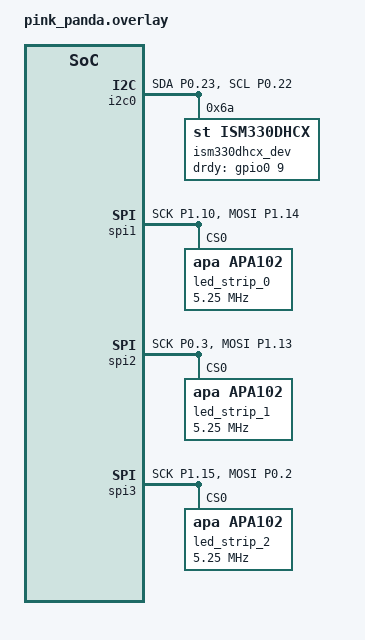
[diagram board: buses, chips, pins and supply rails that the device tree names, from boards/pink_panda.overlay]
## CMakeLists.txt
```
#-------------------------------------------------------------------------------
# Zephyr Example Application
#
# Copyright (c) 2022 François Gervais
# SPDX-License-Identifier: Apache-2.0

set(OVERLAY_CONFIG "secret.conf")

cmake_minimum_required(VERSION 3.20.0)
list(APPEND BOARD_ROOT ${CMAKE_CURRENT_SOURCE_DIR})
find_package(Zephyr REQUIRED HINTS $ENV{ZEPHYR_BASE})

project(app LANGUAGES C VERSION 1.0.0)

configure_file(app_version.h.in ${CMAKE_BINARY_DIR}/app/include/app_version.h)
target_include_directories(app PRIVATE ${CMAKE_BINARY_DIR}/app/include src)

target_sources(app PRIVATE src/main.c)

zephyr_include_directories(
 configuration/${BOARD}
 )
```

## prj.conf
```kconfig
CONFIG_SPI=y

CONFIG_SENSOR=y

CONFIG_SERIAL=y
CONFIG_HEAP_MEM_POOL_SIZE=2048

CONFIG_PM_DEVICE=y

CONFIG_CAF=y
CONFIG_CAF_BUTTONS=y
CONFIG_CAF_BUTTONS_POLARITY_INVERSED=y

CONFIG_NRFX_GPIOTE_NUM_OF_EVT_HANDLERS=1

CONFIG_CONSOLE=y
CONFIG_UART_CONSOLE=y

CONFIG_ISM330DHCX_TRIGGER_OWN_THREAD=y

CONFIG_LED_STRIP=y
CONFIG_APA102_STRIP=y
CONFIG_CBPRINTF_FP_SUPPORT=y
CONFIG_LOG=y
```

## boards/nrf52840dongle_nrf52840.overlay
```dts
/* Copyright (c) 2020 Nordic Semiconductor ASA
 *
 * SPDX-License-Identifier: LicenseRef-Nordic-5-Clause
 */

/ {
	/*
	* In some default configurations within the nRF Connect SDK,
	* e.g. on nRF52840, the chosen zephyr,entropy node is &cryptocell.
	* This devicetree overlay ensures that default is overridden wherever it
	* is set, as this application uses the RNG node for entropy exclusively.
	*/
	chosen {
		zephyr,entropy = &rng;
	};
	aliases {
		myled0alias = &myled0;
	};
	leds {
		compatible = "gpio-leds";
		myled0: led_0 {
			gpios = <&gpio1 10 GPIO_ACTIVE_LOW>;
		};
	};
};
&adc {
	status = "disabled";
};
&uart1 {
	status = "disabled";
};
&pwm0 {
	status = "disabled";
};
&i2c0 {
	status = "disabled";
};
&spi0 {
	status = "disabled";
};
&spi1 {
	status = "disabled";
};
&spi2 {
	status = "disabled";
};
&spi3 {
	status = "disabled";
};
&qspi {
	status = "disabled";
};
&usbd {
	status = "disabled";
};
// &gpio1 {
// 	status = "disabled";
// };
```

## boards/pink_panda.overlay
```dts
/ {
	/*
	* In some default configurations within the nRF Connect SDK,
	* e.g. on nRF52840, the chosen zephyr,entropy node is &cryptocell.
	* This devicetree overlay ensures that default is overridden wherever it
	* is set, as this application uses the RNG node for entropy exclusively.
	*/
	chosen {
		zephyr,entropy = &rng;
	};
	aliases {
		led-strip-0 = &led_strip_0;
		led-strip-1 = &led_strip_1;
		led-strip-2 = &led_strip_2;
	};
};
&pinctrl {
	i2c0_default: i2c0_default {
		group1 {
			psels = <NRF_PSEL(TWIM_SDA, 0, 23)>,
				<NRF_PSEL(TWIM_SCL, 0, 22)>;
		};
	};

	i2c0_sleep: i2c0_sleep {
		group1 {
			psels = <NRF_PSEL(TWIM_SDA, 0, 23)>,
				<NRF_PSEL(TWIM_SCL, 0, 22)>;
			low-power-enable;
		};
	};
	spi1_default: spi1_default {
		group1 {
			psels = <NRF_PSEL(SPIM_SCK, 1, 10)>,
				<NRF_PSEL(SPIM_MOSI, 1, 14)>;
		};
	};

	spi1_sleep: spi1_sleep {
		group1 {
			psels = <NRF_PSEL(SPIM_SCK, 1, 10)>,
				<NRF_PSEL(SPIM_MOSI, 1, 14)>;
			low-power-enable;
		};
	};

	spi2_default: spi2_default {
		group1 {
			psels = <NRF_PSEL(SPIM_SCK, 0, 3)>,
				<NRF_PSEL(SPIM_MOSI, 1, 13)>;
		};
	};

	spi2_sleep: spi2_sleep {
		group1 {
			psels = <NRF_PSEL(SPIM_SCK, 0, 3)>,
				<NRF_PSEL(SPIM_MOSI, 1, 13)>;
			low-power-enable;
		};
	};

	spi3_default: spi3_default {
		group1 {
			psels = <NRF_PSEL(SPIM_SCK, 1, 15)>,
				<NRF_PSEL(SPIM_MOSI, 0, 2)>;
		};
	};

	spi3_sleep: spi3_sleep {
		group1 {
			psels = <NRF_PSEL(SPIM_SCK, 1, 15)>,
				<NRF_PSEL(SPIM_MOSI, 0, 2)>;
			low-power-enable;
		};
	};
};
&i2c0 {
	compatible = "nordic,nrf-twi";
	status = "okay";
	pinctrl-0 = <&i2c0_default>;
	pinctrl-1 = <&i2c0_sleep>;
	pinctrl-names = "default", "sleep";

	ism330dhcx_dev: ism330dhcx@6a {
		compatible = "st,ism330dhcx";
		reg = <0x6a>;
		drdy-gpios =  <&gpio0 9 GPIO_ACTIVE_HIGH>;
		int-pin = <1>;
	};
};
&spi1 {
	status = "okay";
	pinctrl-0 = <&spi1_default>;
	pinctrl-1 = <&spi1_sleep>;
	pinctrl-names = "default", "sleep";

	led_strip_0: apa102@0 {
		compatible = "apa,apa102";
		reg = <0>;
		spi-max-frequency = <5250000>;
	};
};
&spi2 {
	status = "okay";
	pinctrl-0 = <&spi2_default>;
	pinctrl-1 = <&spi2_sleep>;
	pinctrl-names = "default", "sleep";

	led_strip_1: apa102@0 {
		compatible = "apa,apa102";
		reg = <0>;
		spi-max-frequency = <5250000>;
	};
};
&spi3 {
	status = "okay";
	pinctrl-0 = <&spi3_default>;
	pinctrl-1 = <&spi3_sleep>;
	pinctrl-names = "default", "sleep";

	led_strip_2: apa102@0 {
		compatible = "apa,apa102";
		reg = <0>;
		spi-max-frequency = <5250000>;
	};
};
&gpio0 {
	status = "okay";
};
```

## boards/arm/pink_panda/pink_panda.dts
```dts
/*
 * Copyright (c) 2018 Nordic Semiconductor ASA
 * Copyright (c) 2017 Linaro Limited
 *
 * SPDX-License-Identifier: Apache-2.0
 */

/dts-v1/;
#include <nordic/nrf52840_qiaa.dtsi>
#include "pink_panda-pinctrl.dtsi"

/ {
	model = "Pink Panda";
	compatible = "gervais,pink-panda";

	chosen {
		zephyr,console = &uart0;
		zephyr,shell-uart = &uart0;
		zephyr,uart-mcumgr = &uart0;
		zephyr,bt-mon-uart = &uart0;
		zephyr,bt-c2h-uart = &uart0;
		zephyr,sram = &sram0;
		zephyr,flash = &flash0;
		zephyr,code-partition = &slot0_partition;
	};

	leds {
		compatible = "gpio-leds";
		led0_green: led_0 {
			gpios = <&gpio0 6 GPIO_ACTIVE_LOW>;
			label = "Green LED 0";
		};
		led1_red: led_1 {
			gpios = <&gpio0 8 GPIO_ACTIVE_LOW>;
			label = "Red LED 1";
		};
		led1_green: led_2 {
			gpios = <&gpio1 9 GPIO_ACTIVE_LOW>;
			label = "Green LED 1";
		};
		led1_blue: led_3 {
			gpios = <&gpio0 12 GPIO_ACTIVE_LOW>;
			label = "Blue LED 1";
		};
	};

	pwmleds {
		compatible = "pwm-leds";
		red_pwm_led: pwm_led_0 {
			pwms = <&pwm0 0 PWM_MSEC(20) PWM_POLARITY_INVERTED>;
		};
		green_pwm_led: pwm_led_1 {
			pwms = <&pwm0 1 PWM_MSEC(20) PWM_POLARITY_INVERTED>;
		};
		blue_pwm_led: pwm_led_2 {
			pwms = <&pwm0 2 PWM_MSEC(20) PWM_POLARITY_INVERTED>;
		};
	};

	buttons {
		compatible = "gpio-keys";
		button0: button_0 {
			gpios = <&gpio1 6 (GPIO_PULL_UP | GPIO_ACTIVE_LOW)>;
			label = "Push button switch 0";
		};
	};

	/* These aliases are provided for compatibility with samples */
	aliases {
		sw0 = &button0;
		led0 = &led0_green;
		led1 = &led1_red;
		led2 = &led1_green;
		led3 = &led1_blue;
		led0-green = &led0_green;
		led1-red   = &led1_red;
		led1-green = &led1_green;
		led1-blue  = &led1_blue;
		pwm-led0 = &red_pwm_led;
		pwm-led1 = &green_pwm_led;
		pwm-led2 = &blue_pwm_led;
		red-pwm-led = &red_pwm_led;
		green-pwm-led = &green_pwm_led;
		blue-pwm-led = &blue_pwm_led;
		mcuboot-button0 = &button0;
		mcuboot-led0 = &led0_green;
		watchdog0 = &wdt0;
	};
};

&adc {
	status = "okay";
};

&gpiote {
	status = "okay";
};

&gpio0 {
	status = "okay";
};

&gpio1 {
	status = "okay";
};

&uart0 {
	compatible = "nordic,nrf-uarte";
	status = "okay";
	current-speed = <115200>;
	pinctrl-0 = <&uart0_default>;
	pinctrl-1 = <&uart0_sleep>;
	pinctrl-names = "default", "sleep";
};

&i2c0 {
	compatible = "nordic,nrf-twi";
	status = "okay";
	pinctrl-0 = <&i2c0_default>;
	pinctrl-1 = <&i2c0_sleep>;
	pinctrl-names = "default", "sleep";
};

&i2c1 {
	compatible = "nordic,nrf-twi";
	/* Cannot be used together with spi1. */
	/* status = "okay"; */
	pinctrl-0 = <&i2c1_default>;
	pinctrl-1 = <&i2c1_sleep>;
	pinctrl-names = "default", "sleep";
};

&pwm0 {
	status = "okay";
	pinctrl-0 = <&pwm0_default>;
	pinctrl-1 = <&pwm0_sleep>;
	pinctrl-names = "default", "sleep";
};

/*
 * By default, not adding all available SPI instances (spi2, spi3) due to
 * limited GPIOs available on dongle board.
 */
&spi0 {
	compatible = "nordic,nrf-spi";
	/* Cannot be used together with i2c0. */
	/* status = "okay"; */
	pinctrl-0 = <&spi0_default>;
	pinctrl-1 = <&spi0_sleep>;
	pinctrl-names = "default", "sleep";
};

&spi1 {
	compatible = "nordic,nrf-spi";
	status = "okay";
	pinctrl-0 = <&spi1_default>;
	pinctrl-1 = <&spi1_sleep>;
	pinctrl-names = "default", "sleep";
};

/* Include flash partition table.
 * Two partition tables are available:
 * fstab-stock		-compatible with Nordic nRF5 bootloader, default
 * fstab-debugger	-to use an external debugger, w/o the nRF5 bootloader
 */
#include "fstab-debugger.dts"

zephyr_udc0: &usbd {
	compatible = "nordic,nrf-usbd";
	status = "okay";
};
```

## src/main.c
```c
#include <stdio.h>

#include <zephyr/drivers/gpio.h>
#include <zephyr/drivers/led_strip.h>
#include <zephyr/drivers/sensor.h>
#include <zephyr/kernel.h>
#include <zephyr/pm/device.h>

#include <app_event_manager.h>

#define MODULE main
#include <caf/events/module_state_event.h>
#include <caf/events/button_event.h>

#include <zephyr/logging/log.h>
LOG_MODULE_REGISTER(main, LOG_LEVEL_DBG);


#define STRIP_NUM_LEDS 20

#define DELAY_TIME K_MSEC(40)

static const struct led_rgb colors[] = {
	{ .r = 0xff, .g = 0x00, .b = 0x00, }, /* red */
	{ .r = 0x00, .g = 0xff, .b = 0x00, }, /* green */
	{ .r = 0x00, .g = 0x00, .b = 0xff, }, /* blue */
};

static const struct led_rgb black = {
	.r = 0x00,
	.g = 0x00,
	.b = 0x00,
};

struct led_rgb strip0_colors[STRIP_NUM_LEDS];
struct led_rgb strip1_colors[STRIP_NUM_LEDS];
struct led_rgb strip2_colors[STRIP_NUM_LEDS];

static int ism330dhcx_acc_trig_cnt;
static int ism330dhcx_gyr_trig_cnt;

static void ism330dhcx_acc_trigger_handler(const struct device *dev,
					   const struct sensor_trigger *trig)
{
	sensor_sample_fetch_chan(dev, SENSOR_CHAN_ACCEL_XYZ);
	ism330dhcx_acc_trig_cnt++;
}

static void ism330dhcx_gyr_trigger_handler(const struct device *dev,
					   const struct sensor_trigger *trig)
{
	sensor_sample_fetch_chan(dev, SENSOR_CHAN_GYRO_XYZ);
	ism330dhcx_gyr_trig_cnt++;
}

static void ism330dhcx_config(const struct device *ism330dhcx)
{
	struct sensor_value odr_attr, fs_attr;

	/* set ISM330DHCX sampling frequency to 416 Hz */
	odr_attr.val1 = 416;
	odr_attr.val2 = 0;

	if (sensor_attr_set(ism330dhcx, SENSOR_CHAN_ACCEL_XYZ,
			    SENSOR_ATTR_SAMPLING_FREQUENCY, &odr_attr) < 0) {
		LOG_ERR("Cannot set sampling frequency for ISM330DHCX accel");
		return;
	}

	sensor_g_to_ms2(16, &fs_attr);

	if (sensor_attr_set(ism330dhcx, SENSOR_CHAN_ACCEL_XYZ,
			    SENSOR_ATTR_FULL_SCALE, &fs_attr) < 0) {
		LOG_ERR("Cannot set sampling frequency for ISM330DHCX accel");
		return;
	}

	/* set ISM330DHCX gyro sampling frequency to 208 Hz */
	odr_attr.val1 = 208;
	odr_attr.val2 = 0;

	if (sensor_attr_set(ism330dhcx, SENSOR_CHAN_GYRO_XYZ,
			    SENSOR_ATTR_SAMPLING_FREQUENCY, &odr_attr) < 0) {
		LOG_ERR("Cannot set sampling frequency for ISM330DHCX gyro");
		return;
	}

	sensor_degrees_to_rad(250, &fs_attr);

	if (sensor_attr_set(ism330dhcx, SENSOR_CHAN_GYRO_XYZ,
			    SENSOR_ATTR_FULL_SCALE, &fs_attr) < 0) {
		LOG_ERR("Cannot set fs for ISM330DHCX gyro");
		return;
	}


	struct sensor_trigger trig;

	trig.type = SENSOR_TRIG_DATA_READY;
	trig.chan = SENSOR_CHAN_ACCEL_XYZ;
	sensor_trigger_set(ism330dhcx, &trig, ism330dhcx_acc_trigger_handler);

	trig.type = SENSOR_TRIG_DATA_READY;
	trig.chan = SENSOR_CHAN_GYRO_XYZ;
	sensor_trigger_set(ism330dhcx, &trig, ism330dhcx_gyr_trigger_handler);
}


void main(void)
{
	const struct device *const cons = DEVICE_DT_GET(DT_CHOSEN(zephyr_console));
	const struct device *const ism330dhcx = DEVICE_DT_GET_ONE(st_ism330dhcx);

	const struct device *strip0 = DEVICE_DT_GET(DT_ALIAS(led_strip_0));
	const struct device *strip1 = DEVICE_DT_GET(DT_NODELABEL(led_strip_1));
	const struct device *strip2 = DEVICE_DT_GET(DT_NODELABEL(led_strip_2));

	struct sensor_value accel1[3];
	struct sensor_value gyro[3];
	int cnt = 0;

	if (app_event_manager_init()) {
		LOG_ERR("Event manager not initialized");
	} else {
		module_set_state(MODULE_STATE_READY);
	}

	if (!device_is_ready(ism330dhcx)) {
		LOG_ERR("%s: device not ready.", ism330dhcx->name);
		return;
	}

	ism330dhcx_config(ism330dhcx);

	if (!strip0) {
		LOG_ERR("LED strip device not found");
		return;
	} else if (!device_is_ready(strip0)) {
		LOG_ERR("LED strip device %s is not ready", strip0->name);
		return;
	} else {
		LOG_INF("Found LED strip device %s", strip0->name);
	}

	if (!strip1) {
		LOG_ERR("LED strip device not found");
		return;
	} else if (!device_is_ready(strip1)) {
		LOG_ERR("LED strip device %s is not ready", strip1->name);
		return;
	} else {
		LOG_INF("Found LED strip device %s", strip1->name);
	}

	if (!strip2) {
		LOG_ERR("LED strip device not found");
		return;
	} else if (!device_is_ready(strip2)) {
		LOG_ERR("LED strip device %s is not ready", strip2->name);
		return;
	} else {
		LOG_INF("Found LED strip device %s", strip2->name);
	}


	LOG_INF("Displaying pattern on strip");
	while (1) {
		memcpy(&strip0_colors[0], &colors[0], sizeof(strip0_colors[0]));
		memcpy(&strip1_colors[1], &colors[0], sizeof(strip1_colors[1]));
		memcpy(&strip2_colors[2], &colors[0], sizeof(strip2_colors[2]));

		led_strip_update_rgb(strip0, strip0_colors, STRIP_NUM_LEDS);
		led_strip_update_rgb(strip1, strip1_colors, STRIP_NUM_LEDS);
		led_strip_update_rgb(strip2, strip2_colors, STRIP_NUM_LEDS);
		// k_sleep(DELAY_TIME);

		sensor_channel_get(ism330dhcx, SENSOR_CHAN_ACCEL_XYZ, accel1);
		sensor_channel_get(ism330dhcx, SENSOR_CHAN_GYRO_XYZ, gyro);

		/* Erase previous */
		// LOG_INF("\0033\014");

		LOG_INF("ISM330DHCX: Accel (m.s-2): x: %.3f, y: %.3f, z: %.3f",
			sensor_value_to_double(&accel1[0]),
			sensor_value_to_double(&accel1[1]),
			sensor_value_to_double(&accel1[2]));

		LOG_INF("ISM330DHCX: GYro (dps): x: %.3f, y: %.3f, z: %.3f",
			sensor_value_to_double(&gyro[0]),
			sensor_value_to_double(&gyro[1]),
			sensor_value_to_double(&gyro[2]));

		LOG_INF("%d:: ism330dhcx acc trig %d", cnt, ism330dhcx_acc_trig_cnt);
		LOG_INF("%d:: ism330dhcx gyr trig %d", cnt, ism330dhcx_gyr_trig_cnt);

		cnt++;
		k_sleep(K_MSEC(2000));
	}

	LOG_INF("****************************************");
	LOG_INF("MAIN DONE");
	LOG_INF("****************************************");

	k_sleep(K_SECONDS(3));
	pm_device_action_run(cons, PM_DEVICE_ACTION_SUSPEND);

	LOG_INF("PM_DEVICE_ACTION_SUSPEND");
}

static bool event_handler(const struct app_event_header *eh)
{
	const struct button_event *evt;

	if (is_button_event(eh)) {
		evt = cast_button_event(eh);

		if (evt->pressed) {
			LOG_INF("PRESSED");
		}
	}

	return true;
}

APP_EVENT_LISTENER(MODULE, event_handler);
APP_EVENT_SUBSCRIBE(MODULE, button_event);
```
